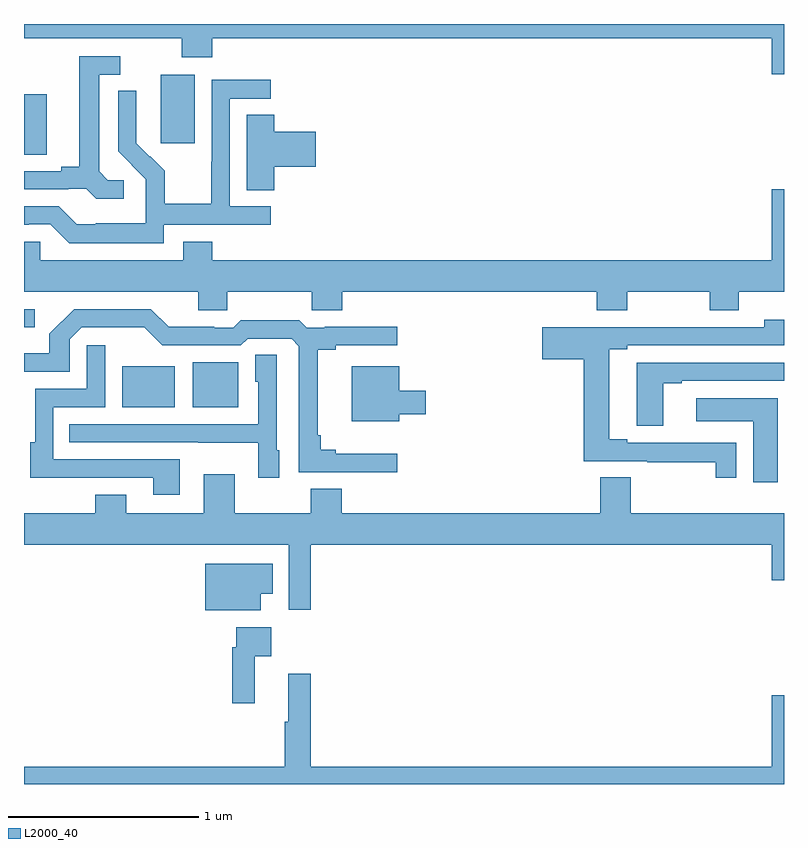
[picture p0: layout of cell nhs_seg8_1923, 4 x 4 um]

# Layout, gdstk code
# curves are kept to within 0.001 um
import gdstk
lib = gdstk.Library(unit=1e-6, precision=1e-09)
def R(c, l, rs):  # rectangles x0, y0, x1, y1
    for r in rs: c.add(gdstk.rectangle(r[:2], r[2:], *l))
def P(c, l, *ps):  # polygons
    for p in ps: c.add(gdstk.Polygon(p, *l))
L2000_40 = (2000, 40)

nhs_seg8_1923 = lib.new_cell('nhs_seg8_1923')
R(nhs_seg8_1923, L2000_40, [(233.516,1123.883,233.794,1124.098), (233.888,1123.883,234.127,1124.119), (233,1124.303,233.056,1124.4), (233,1125.211,233.119,1125.531), (233.72,1125.273,233.899,1125.634)])
P(nhs_seg8_1923, L2000_40, [(237,1125.9),(233,1125.9),(233,1125.824),(233.83,1125.824),(233.83,1125.725),(233.99,1125.725),(233.99,1125.824),(236.936,1125.824),(236.936,1125.636),(237,1125.636)],
  [(233.524,1125.078),(233.442,1125.078),(233.395,1125.125),(233.395,1125.633),(233.506,1125.633),(233.506,1125.729),(233.291,1125.729),(233.291,1125.149),(233.195,1125.149),(233.195,1125.126),(233,1125.126),(233,1125.03),(233.234,1125.03),(233.234,1125.033),(233.328,1125.033),(233.38,1124.981),(233.524,1124.981)],
  [(233.736,1124.844),(234.298,1124.844),(234.298,1124.94),(234.084,1124.94),(234.084,1125.507),(234.298,1125.507),(234.298,1125.606),(233.988,1125.606),(233.988,1125.176),(233.986,1125.176),(233.986,1124.953),(233.741,1124.953),(233.741,1125.127),(233.664,1125.204),(233.661,1125.201),(233.591,1125.272),(233.592,1125.548),(233.496,1125.548),(233.496,1125.23),(233.642,1125.082),(233.642,1124.985),(233.64,1124.985),(233.64,1124.851),(233.377,1124.851),(233.377,1124.847),(233.277,1124.847),(233.184,1124.94),(233,1124.94),(233,1124.844),(233.024,1124.844),(233.024,1124.847),(233.139,1124.847),(233.239,1124.747),(233.736,1124.747)],
  [(234.317,1125.149),(234.535,1125.149),(234.535,1125.332),(234.317,1125.332),(234.317,1125.422),(234.173,1125.422),(234.173,1125.025),(234.317,1125.025)],
  [(236.175,1124.492),(236.608,1124.492),(236.608,1124.393),(236.763,1124.393),(236.763,1124.492),(237,1124.492),(237,1125.031),(236.936,1125.031),(236.936,1124.656),(233.99,1124.656),(233.99,1124.755),(233.837,1124.755),(233.837,1124.656),(233.085,1124.656),(233.085,1124.754),(233,1124.754),(233,1124.492),(233.918,1124.492),(233.918,1124.394),(234.069,1124.394),(234.069,1124.492),(234.514,1124.492),(234.514,1124.394),(234.674,1124.394),(234.674,1124.492),(236.015,1124.492),(236.015,1124.393),(236.175,1124.393)],
  [(234.964,1123.639),(234.64,1123.639),(234.64,1123.658),(234.563,1123.658),(234.563,1123.735),(234.545,1123.735),(234.545,1124.186),(234.64,1124.186),(234.64,1124.208),(234.964,1124.208),(234.964,1124.306),(234.583,1124.306),(234.583,1124.301),(234.489,1124.301),(234.449,1124.341),(234.142,1124.341),(234.102,1124.301),(234.002,1124.301),(234.002,1124.306),(233.762,1124.306),(233.667,1124.4),(233.264,1124.4),(233.134,1124.27),(233.134,1124.167),(233,1124.167),(233,1124.07),(233.241,1124.07),(233.241,1124.241),(233.304,1124.304),(233.633,1124.303),(233.727,1124.208),(234.141,1124.208),(234.177,1124.244),(234.408,1124.244),(234.447,1124.205),(234.447,1123.542),(234.964,1123.542)],
  [(236.748,1123.695),(236.176,1123.695),(236.176,1123.715),(236.08,1123.715),(236.08,1124.188),(236.176,1124.188),(236.176,1124.208),(237,1124.208),(237,1124.344),(236.897,1124.344),(236.897,1124.304),(235.962,1124.304),(235.962,1124.305),(235.728,1124.305),(235.728,1124.135),(235.946,1124.135),(235.946,1123.599),(236.281,1123.599),(236.281,1123.594),(236.64,1123.594),(236.64,1123.512),(236.748,1123.512)],
  [(233.821,1123.608),(233.154,1123.608),(233.154,1123.884),(233.427,1123.884),(233.427,1124.209),(233.331,1124.209),(233.331,1123.98),(233.058,1123.98),(233.058,1123.698),(233.033,1123.698),(233.033,1123.511),(233.251,1123.511),(233.251,1123.512),(233.681,1123.512),(233.681,1123.422),(233.821,1123.422)],
  [(234.343,1123.656),(234.33,1123.656),(234.33,1124.159),(234.218,1124.159),(234.218,1124.016),(234.234,1124.016),(234.234,1123.794),(233.239,1123.794),(233.239,1123.698),(233.917,1123.698),(233.917,1123.697),(234.234,1123.697),(234.234,1123.512),(234.343,1123.512)],
  [(236.365,1124.01),(236.461,1124.01),(236.461,1124.022),(237,1124.022),(237,1124.118),(236.225,1124.118),(236.225,1123.785),(236.365,1123.785)],
  [(234.976,1123.847),(235.114,1123.847),(235.114,1123.969),(234.976,1123.969),(234.976,1124.098),(234.725,1124.098),(234.725,1123.808),(234.976,1123.808)],
  [(236.968,1123.93),(236.538,1123.93),(236.538,1123.808),(236.837,1123.808),(236.837,1123.488),(236.968,1123.488)],
  [(234.509,1123.16),(236.936,1123.16),(236.936,1122.972),(237,1122.972),(237,1123.324),(236.193,1123.324),(236.193,1123.514),(236.033,1123.514),(236.033,1123.324),(234.673,1123.324),(234.673,1123.453),(234.509,1123.453),(234.509,1123.324),(234.109,1123.324),(234.109,1123.531),(233.945,1123.531),(233.945,1123.324),(233.539,1123.324),(233.539,1123.423),(233.375,1123.423),(233.375,1123.324),(233,1123.324),(233,1123.16),(234.393,1123.16),(234.393,1122.816),(234.509,1122.816)],
  [(234.247,1122.902),(234.308,1122.902),(234.308,1123.06),(233.954,1123.06),(233.954,1122.815),(234.247,1122.815)],
  [(234.215,1122.572),(234.301,1122.572),(234.301,1122.724),(234.117,1122.724),(234.117,1122.62),(234.097,1122.62),(234.097,1122.324),(234.215,1122.324)],
  [(237,1122.367),(236.936,1122.367),(236.936,1121.992),(234.509,1121.992),(234.509,1122.481),(234.392,1122.481),(234.392,1122.228),(234.373,1122.228),(234.373,1121.992),(233,1121.992),(233,1121.9),(237,1121.9)])

lib.write_gds('nhs_seg8_1923.gds')
